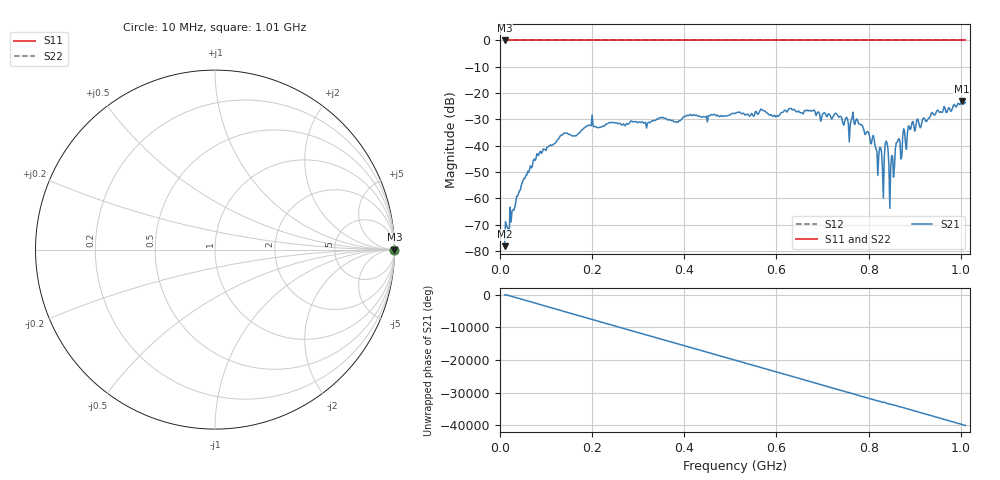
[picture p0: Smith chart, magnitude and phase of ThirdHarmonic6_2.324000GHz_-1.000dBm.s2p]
! 8/17/2025 3:19:12 AM
! C:\ANRITSUVNA\TEMP\TEMP.S2P
! CHANNEL.1
! TR.MEASUREMENT
! RAW.DATA
! RF.CORRECTION.OFF
! AVERAGING.OFF
! IF.BANDWIDTH: 5KHZ
! SWEEPTYPE:  FREQ.SWEEP(Linear)
! Reference Plane Port Info
! PORT:  PORT1  PORT2
! DISTANCE:  0  m  0  m
! TIME:  0  s  0  s
! PHASE.OFFSET:  0  deg.  0  deg.
! LOSS:  0  dB  0  dB
! REF.LOSS:  0  dB  0  dB
! REF.FREQ:  0  Hz  0  Hz
! Power Info
! POWER:  -20  dBm  -20  dBm
! EFF.POWER:  -20  dBm  -20  dBm
! SOURCE.ATTEN:  0  dB  0  dB
! TEST.ATTEN:  0  dB  0  dB
# GHZ S RI R 50.0
! FREQ.GHZ  S11RE  S11IM  S21RE  S21IM  S12RE  S12IM  S22RE  S22IM
!; PortSelection: Port_12
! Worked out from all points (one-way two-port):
!   501 points, 10 MHz to 1.01 GHz, reference 50 ohm
!   highest |S21| = -22.96 dB at 1.002 GHz (marker M1); lowest = -78.2 dB at 10 MHz (marker M2)
!   lowest |S11| = 0.0 dB at 10 MHz (marker M3)
!   |S11| at or under -10 dB: nowhere
!   |S22| runs from 0.0 to 0.0 dB; largest |S21 - S12| = 1.1
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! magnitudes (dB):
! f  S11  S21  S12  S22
! 10 MHz  0.0  -78.2  0.0  0.0
! 50 MHz  0.0  -53.3  0.0  0.0
! 76 MHz  0.0  -45.6  0.0  0.0
! 136 MHz  0.0  -35.9  0.0  0.0
! 178 MHz  0.0  -33.9  0.0  0.0
! 344 MHz  0.0  -29.8  0.0  0.0
! 510 MHz  0.0  -27.8  0.0  0.0
! 678 MHz  0.0  -26.7  0.0  0.0
! 778 MHz  0.0  -31.5  0.0  0.0
! 812 MHz  0.0  -37.5  0.0  0.0
! 818 MHz  0.0  -42.1  0.0  0.0
! 826 MHz  0.0  -40.8  0.0  0.0
! 830 MHz  0.0  -48.7  0.0  0.0
! 834 MHz  0.0  -44.2  0.0  0.0
! 838 MHz  0.0  -38.2  0.0  0.0
! 844 MHz  0.0  -47.4  0.0  0.0
! 850 MHz  0.0  -43.7  0.0  0.0
! 862 MHz  0.0  -38.8  0.0  0.0
! 870 MHz  0.0  -45.0  0.0  0.0
! 892 MHz  0.0  -33.4  0.0  0.0
! 1.002 GHz  0.0  -23.0  0.0  0.0
! 1.01 GHz  0.0  -23.5  0.0  0.0
